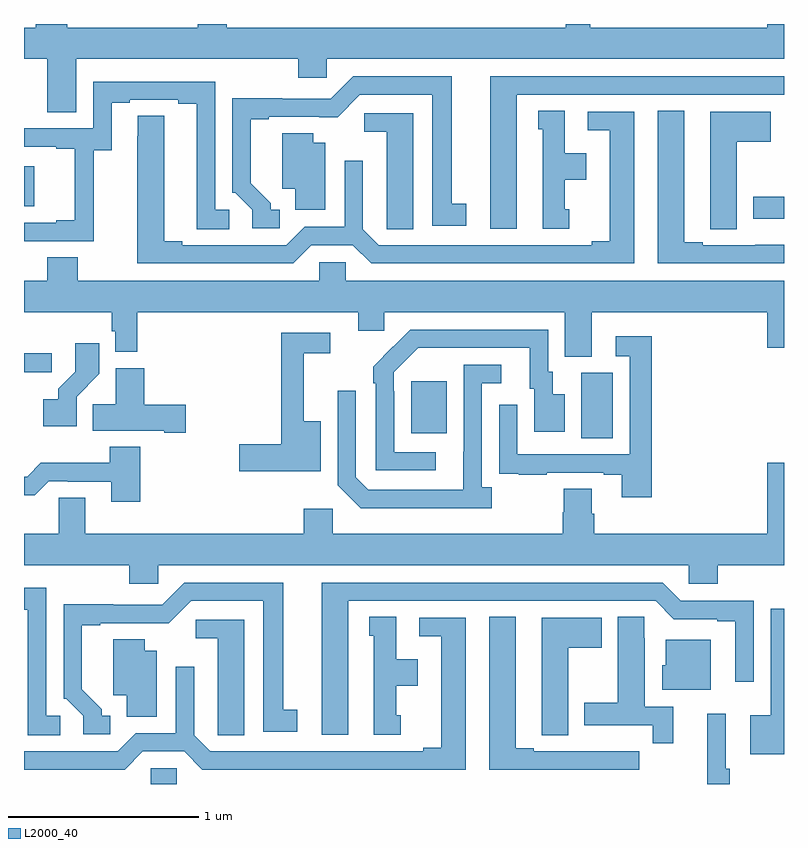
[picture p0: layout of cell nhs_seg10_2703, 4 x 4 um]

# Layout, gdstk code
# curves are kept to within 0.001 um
import gdstk
lib = gdstk.Library(unit=1e-6, precision=1e-09)
def R(c, l, rs):  # rectangles x0, y0, x1, y1
    for r in rs: c.add(gdstk.rectangle(r[:2], r[2:], *l))
def P(c, l, *ps):  # polygons
    for p in ps: c.add(gdstk.Polygon(p, *l))
L2000_40 = (2000, 40)

nhs_seg10_2703 = lib.new_cell('nhs_seg10_2703')
R(nhs_seg10_2703, L2000_40, [(257.667,1296.5,257.805,1296.582), (259.934,1298.32,260.098,1298.664), (259.037,1298.345,259.225,1298.62), (257,1298.667,257.146,1298.766), (260.837,1299.474,261,1299.591), (257,1299.542,257.053,1299.751)])
P(nhs_seg10_2703, L2000_40, [(257.275,1300.316),(258.443,1300.316),(258.443,1300.218),(258.594,1300.218),(258.594,1300.316),(261,1300.316),(261,1300.5),(260.912,1300.5),(260.912,1300.48),(259.979,1300.48),(259.979,1300.5),(259.851,1300.5),(259.851,1300.48),(258.068,1300.48),(258.068,1300.5),(257.915,1300.5),(257.915,1300.48),(257.228,1300.48),(257.228,1300.5),(257.063,1300.5),(257.063,1300.48),(257,1300.48),(257,1300.316),(257.123,1300.316),(257.123,1300.036),(257.275,1300.036)],
  [(258.347,1299.522),(258.298,1299.522),(258.298,1299.557),(258.193,1299.662),(258.193,1299.999),(258.289,1299.999),(258.289,1300.011),(258.65,1300.01),(258.768,1300.128),(259.148,1300.128),(259.148,1299.438),(259.327,1299.438),(259.327,1299.554),(259.252,1299.554),(259.252,1300.224),(258.732,1300.224),(258.615,1300.107),(258.359,1300.107),(258.359,1300.109),(258.096,1300.109),(258.096,1299.612),(258.111,1299.612),(258.201,1299.522),(258.201,1299.426),(258.347,1299.426)],
  [(259.594,1300.128),(261,1300.128),(261,1300.224),(259.454,1300.224),(259.454,1299.423),(259.594,1299.423)],
  [(257.367,1299.835),(257.461,1299.835),(257.461,1300.086),(257.557,1300.086),(257.557,1300.101),(257.813,1300.101),(257.813,1300.081),(257.909,1300.081),(257.909,1299.421),(258.079,1299.421),(258.079,1299.522),(258.006,1299.522),(258.006,1300.197),(257.364,1300.197),(257.364,1299.951),(257,1299.951),(257,1299.855),(257.171,1299.855),(257.171,1299.843),(257.267,1299.843),(257.267,1299.466),(257.171,1299.466),(257.171,1299.453),(257,1299.453),(257,1299.357),(257.367,1299.357)],
  [(259.87,1299.525),(259.846,1299.525),(259.846,1299.68),(259.96,1299.68),(259.96,1299.82),(259.846,1299.82),(259.846,1300.043),(259.706,1300.043),(259.706,1299.945),(259.73,1299.945),(259.73,1299.423),(259.87,1299.423)],
  [(261,1299.337),(260.848,1299.337),(260.848,1299.336),(260.572,1299.336),(260.572,1299.351),(260.476,1299.351),(260.476,1300.043),(260.336,1300.043),(260.336,1299.24),(261,1299.24)],
  [(260.752,1299.88),(260.929,1299.88),(260.929,1300.039),(260.612,1300.039),(260.612,1299.529),(260.613,1299.529),(260.613,1299.421),(260.752,1299.421)],
  [(258.513,1299.336),(258.731,1299.336),(258.827,1299.24),(260.212,1299.24),(260.212,1300.038),(259.968,1300.038),(259.968,1299.942),(260.084,1299.942),(260.084,1299.356),(259.988,1299.356),(259.988,1299.336),(258.867,1299.336),(258.783,1299.42),(258.783,1299.781),(258.687,1299.781),(258.687,1299.432),(258.477,1299.432),(258.381,1299.336),(257.833,1299.336),(257.833,1299.356),(257.737,1299.356),(257.737,1300.016),(257.598,1300.016),(257.597,1299.24),(258.417,1299.24)],
  [(259.048,1300.029),(258.791,1300.029),(258.791,1299.932),(258.908,1299.932),(258.908,1299.529),(258.909,1299.529),(258.909,1299.421),(259.048,1299.421)],
  [(258.586,1299.874),(258.523,1299.874),(258.523,1299.926),(258.359,1299.926),(258.359,1299.632),(258.428,1299.632),(258.428,1299.522),(258.586,1299.522)],
  [(259.987,1298.984),(260.912,1298.984),(260.912,1298.796),(261,1298.796),(261,1299.148),(258.693,1299.148),(258.693,1299.246),(258.555,1299.246),(258.555,1299.148),(257.283,1299.148),(257.283,1299.272),(257.123,1299.272),(257.123,1299.148),(257,1299.148),(257,1298.984),(257.461,1298.984),(257.461,1298.883),(257.481,1298.883),(257.481,1298.774),(257.597,1298.774),(257.597,1298.984),(258.758,1298.984),(258.758,1298.886),(258.897,1298.886),(258.897,1298.984),(259.847,1298.984),(259.847,1298.749),(259.987,1298.749)],
  [(259.168,1298.247),(258.948,1298.247),(258.948,1298.567),(258.945,1298.567),(258.945,1298.667),(259.074,1298.796),(259.661,1298.796),(259.661,1298.58),(259.685,1298.58),(259.685,1298.355),(259.846,1298.355),(259.846,1298.551),(259.783,1298.551),(259.783,1298.67),(259.758,1298.67),(259.758,1298.892),(259.034,1298.892),(258.837,1298.697),(258.837,1298.609),(258.852,1298.609),(258.852,1298.151),(259.168,1298.151)],
  [(258.562,1298.41),(258.473,1298.41),(258.473,1298.766),(258.613,1298.766),(258.613,1298.874),(258.355,1298.874),(258.355,1298.288),(258.132,1298.288),(258.132,1298.146),(258.562,1298.146)],
  [(260.303,1298.857),(260.115,1298.857),(260.115,1298.751),(260.187,1298.751),(260.187,1298.235),(259.596,1298.235),(259.596,1298.497),(259.5,1298.497),(259.5,1298.242),(259.501,1298.242),(259.501,1298.133),(259.603,1298.133),(259.603,1298.127),(259.751,1298.127),(259.751,1298.139),(260.051,1298.139),(260.051,1298.127),(260.147,1298.127),(260.147,1298.01),(260.303,1298.01)],
  [(257.277,1298.539),(257.396,1298.658),(257.396,1298.821),(257.271,1298.821),(257.271,1298.669),(257.18,1298.579),(257.18,1298.524),(257.1,1298.524),(257.1,1298.384),(257.277,1298.384)],
  [(259.462,1298.062),(259.41,1298.062),(259.41,1298.61),(259.513,1298.61),(259.513,1298.706),(259.314,1298.706),(259.313,1298.049),(258.813,1298.049),(258.747,1298.115),(258.747,1298.569),(258.651,1298.569),(258.651,1298.073),(258.772,1297.952),(259.462,1297.952)],
  [(257.851,1298.495),(257.633,1298.495),(257.633,1298.689),(257.483,1298.689),(257.483,1298.498),(257.362,1298.498),(257.362,1298.36),(257.738,1298.36),(257.738,1298.348),(257.851,1298.348)],
  [(257.612,1298.275),(257.452,1298.275),(257.452,1298.191),(257.089,1298.191),(257.016,1298.118),(257,1298.118),(257,1298.021),(257.057,1298.021),(257.13,1298.094),(257.23,1298.094),(257.23,1298.091),(257.459,1298.091),(257.459,1297.986),(257.612,1297.986)],
  [(259.84,1298.054),(259.84,1297.929),(259.835,1297.929),(259.835,1297.816),(258.624,1297.816),(258.624,1297.948),(258.473,1297.948),(258.473,1297.816),(257.323,1297.816),(257.323,1298.006),(257.184,1298.006),(257.184,1297.816),(257,1297.816),(257,1297.652),(257.555,1297.652),(257.555,1297.554),(257.706,1297.554),(257.706,1297.652),(260.499,1297.652),(260.499,1297.554),(260.651,1297.554),(260.651,1297.652),(261,1297.652),(261,1298.191),(260.912,1298.191),(260.912,1297.816),(260,1297.816),(260,1297.922),(259.987,1297.922),(259.987,1298.054)],
  [(257.455,1296.858),(257.41,1296.858),(257.41,1296.893),(257.305,1296.998),(257.305,1297.335),(257.401,1297.335),(257.401,1297.347),(257.762,1297.346),(257.88,1297.464),(258.26,1297.464),(258.26,1296.774),(258.439,1296.774),(258.439,1296.89),(258.364,1296.89),(258.364,1297.56),(257.844,1297.56),(257.727,1297.443),(257.471,1297.443),(257.471,1297.445),(257.208,1297.445),(257.208,1296.948),(257.223,1296.948),(257.313,1296.858),(257.313,1296.762),(257.455,1296.762)],
  [(258.706,1297.464),(260.325,1297.464),(260.421,1297.368),(260.648,1297.368),(260.648,1297.356),(260.744,1297.356),(260.744,1297.038),(260.841,1297.038),(260.841,1297.464),(260.457,1297.464),(260.361,1297.56),(258.566,1297.56),(258.566,1296.759),(258.706,1296.759)],
  [(257.191,1296.858),(257.118,1296.858),(257.118,1297.533),(257,1297.533),(257,1297.417),(257.021,1297.417),(257.021,1296.757),(257.191,1296.757)],
  [(261,1297.423),(260.931,1297.423),(260.931,1296.862),(260.822,1296.862),(260.822,1296.656),(261,1296.656)],
  [(260.416,1296.906),(260.266,1296.906),(260.266,1297.268),(260.265,1297.268),(260.265,1297.379),(260.126,1297.379),(260.126,1296.927),(259.949,1296.927),(259.949,1296.81),(260.308,1296.81),(260.308,1296.714),(260.416,1296.714)],
  [(260.239,1296.672),(260.126,1296.672),(260.126,1296.673),(259.96,1296.673),(259.96,1296.672),(259.684,1296.672),(259.684,1296.687),(259.588,1296.687),(259.588,1297.379),(259.448,1297.379),(259.448,1296.576),(260.239,1296.576)],
  [(258.982,1296.861),(258.958,1296.861),(258.958,1297.016),(259.072,1297.016),(259.072,1297.156),(258.958,1297.156),(258.958,1297.379),(258.818,1297.379),(258.818,1297.281),(258.842,1297.281),(258.842,1296.759),(258.982,1296.759)],
  [(259.864,1297.216),(260.041,1297.216),(260.041,1297.375),(259.724,1297.375),(259.724,1296.865),(259.725,1296.865),(259.725,1296.757),(259.864,1296.757)],
  [(257.625,1296.672),(257.843,1296.672),(257.939,1296.576),(259.324,1296.576),(259.324,1297.374),(259.08,1297.374),(259.08,1297.278),(259.196,1297.278),(259.196,1296.692),(259.1,1296.692),(259.1,1296.672),(257.979,1296.672),(257.895,1296.756),(257.895,1297.117),(257.799,1297.117),(257.799,1296.768),(257.589,1296.768),(257.493,1296.672),(257,1296.672),(257,1296.576),(257.529,1296.576)],
  [(258.16,1297.365),(257.904,1297.365),(257.904,1297.268),(258.02,1297.268),(258.02,1296.865),(258.021,1296.865),(258.021,1296.757),(258.16,1296.757)],
  [(257.698,1297.201),(257.635,1297.201),(257.635,1297.262),(257.471,1297.262),(257.471,1296.968),(257.54,1296.968),(257.54,1296.853),(257.698,1296.853)],
  [(260.614,1297.258),(260.378,1297.258),(260.378,1297.125),(260.36,1297.125),(260.36,1296.995),(260.614,1296.995)],
  [(260.714,1296.58),(260.694,1296.58),(260.694,1296.871),(260.597,1296.871),(260.597,1296.5),(260.714,1296.5)])

lib.write_gds('nhs_seg10_2703.gds')
